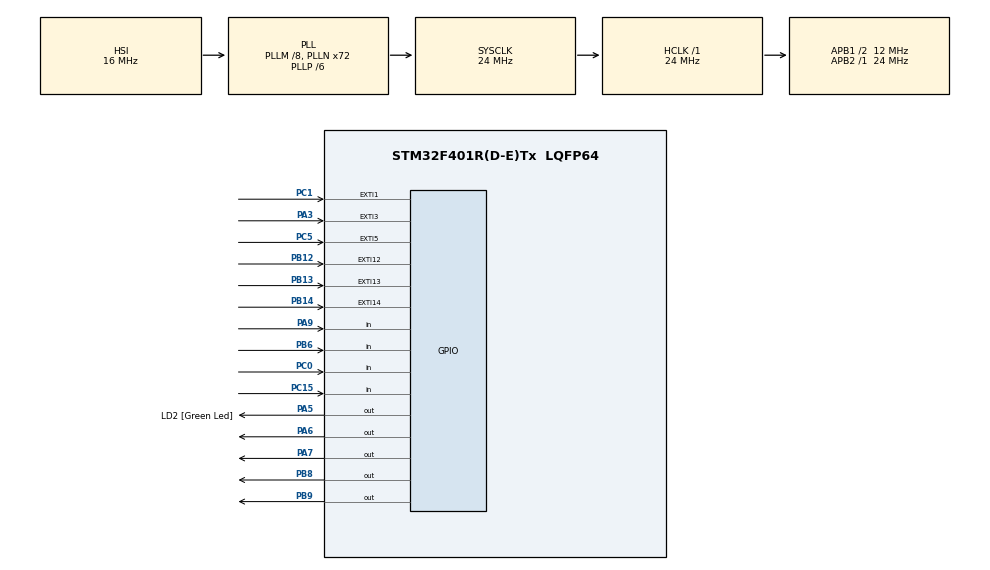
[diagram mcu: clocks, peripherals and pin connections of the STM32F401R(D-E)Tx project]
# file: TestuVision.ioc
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Mcu.Family=STM32F4
Mcu.Name=STM32F401R(D-E)Tx
Mcu.Package=LQFP64
NVIC.PriorityGroup=NVIC_PRIORITYGROUP_0
NVIC.TIM3_IRQn=true\:0\:0\:false\:false\:true\:true
PA13.GPIO_Label=TMS
PA13.Signal=SYS_JTMS-SWDIO
PA14.GPIO_Label=TCK
PA14.Signal=SYS_JTCK-SWCLK
PA3.Signal=GPXTI3
PA5.GPIO_Label=LD2 [Green Led]
PA5.GPIO_Mode=GPIO_MODE_OUTPUT_PP
PA5.GPIO_PuPd=GPIO_NOPULL
PA5.GPIO_Speed=GPIO_SPEED_FREQ_LOW
PA5.Signal=GPIO_Output
PA6.Signal=GPIO_Output
PA7.Signal=GPIO_Output
PA9.Signal=GPIO_Input
PB12.Signal=GPXTI12
PB13.Signal=GPXTI13
PB14.Signal=GPXTI14
PB3.GPIO_Label=SWO
PB3.Signal=SYS_JTDO-SWO
PB6.Signal=GPIO_Input
PB8.Signal=GPIO_Output
PB9.Signal=GPIO_Output
PC0.Signal=GPIO_Input
PC1.Signal=GPXTI1
PC14-OSC32_IN.Signal=RCC_OSC32_IN
PC15-OSC32_OUT.Signal=GPIO_Input
PC5.Signal=GPXTI5
PH0\ -\ OSC_IN.Signal=RCC_OSC_IN
PH1\ -\ OSC_OUT.Signal=RCC_OSC_OUT
ProjectManager.HeapSize=0x200
ProjectManager.StackSize=0x400
ProjectManager.TargetToolchain=MDK-ARM V5
RCC.48MHZClocksFreq_Value=20571428.57142857
RCC.AHBFreq_Value=24000000
RCC.APB1CLKDivider=RCC_HCLK_DIV2
RCC.APB1Freq_Value=12000000
RCC.APB1TimFreq_Value=24000000
RCC.APB2Freq_Value=24000000
RCC.APB2TimFreq_Value=24000000
RCC.CortexFreq_Value=24000000
RCC.HCLKFreq_Value=24000000
RCC.HSE_VALUE=8000000
RCC.HSI_VALUE=16000000
RCC.LSE_VALUE=32768
RCC.PLLM=8
RCC.PLLN=72
RCC.PLLP=RCC_PLLP_DIV6
RCC.PLLQ=7
RCC.SYSCLKFreq_VALUE=24000000
RCC.SYSCLKSource=RCC_SYSCLKSOURCE_PLLCLK
RCC.VCOOutputFreq_Value=144000000
TIM3.Period=50
TIM3.Prescaler=23
VP_TIM3_VS_ClockSourceINT.Mode=Internal
board=NUCLEO-F401RE

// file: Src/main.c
/**
  ******************************************************************************
  * File Name          : main.c
  * Description        : Main program body
  ******************************************************************************
  ** This notice applies to any and all portions of this file
  * that are not between comment pairs USER CODE BEGIN and
  * USER CODE END. Other portions of this file, whether
  * inserted by the user or by software development tools
  * are owned by their respective copyright owners.
  *
  * COPYRIGHT(c) 2017 STMicroelectronics
  *
  * Redistribution and use in source and binary forms, with or without modification,
  * are permitted provided that the following conditions are met:
  *   1. Redistributions of source code must retain the above copyright notice,
  *      this list of conditions and the following disclaimer.
  *   2. Redistributions in binary form must reproduce the above copyright notice,
  *      this list of conditions and the following disclaimer in the documentation
  *      and/or other materials provided with the distribution.
  *   3. Neither the name of STMicroelectronics nor the names of its contributors
  *      may be used to endorse or promote products derived from this software
  *      without specific prior written permission.
  *
  * THIS SOFTWARE IS PROVIDED BY THE COPYRIGHT HOLDERS AND CONTRIBUTORS "AS IS"
  * AND ANY EXPRESS OR IMPLIED WARRANTIES, INCLUDING, BUT NOT LIMITED TO, THE
  * IMPLIED WARRANTIES OF MERCHANTABILITY AND FITNESS FOR A PARTICULAR PURPOSE ARE
  * DISCLAIMED. IN NO EVENT SHALL THE COPYRIGHT HOLDER OR CONTRIBUTORS BE LIABLE
  * FOR ANY DIRECT, INDIRECT, INCIDENTAL, SPECIAL, EXEMPLARY, OR CONSEQUENTIAL
  * DAMAGES (INCLUDING, BUT NOT LIMITED TO, PROCUREMENT OF SUBSTITUTE GOODS OR
  * SERVICES; LOSS OF USE, DATA, OR PROFITS; OR BUSINESS INTERRUPTION) HOWEVER
  * CAUSED AND ON ANY THEORY OF LIABILITY, WHETHER IN CONTRACT, STRICT LIABILITY,
  * OR TORT (INCLUDING NEGLIGENCE OR OTHERWISE) ARISING IN ANY WAY OUT OF THE USE
  * OF THIS SOFTWARE, EVEN IF ADVISED OF THE POSSIBILITY OF SUCH DAMAGE.
  *
  ******************************************************************************
  */

#include "main.h"
#include "stm32f4xx_hal.h"

/* USER CODE BEGIN Includes */
#include "stdbool.h"

/* USER CODE END Includes */

TIM_HandleTypeDef htim3;

/* USER CODE BEGIN PV */
/* Private variables ---------------------------------------------------------*/
unsigned int cnt = 0;
unsigned int cnt_ccw = 0;
unsigned int cnt_cw = 0;
char contrseq1[4] = {0x01,0x02,0x04,0x09};
char contrseq2[4] = {0x00,0x00,0x01,0x03};
volatile bool a1;
volatile bool b1;

volatile bool a[19];
volatile bool b[19];
volatile unsigned int timecount;
enum state{S0,S1,S2,S3};
enum state my_state = S0;

//Variables for transmition

/* USER CODE END PV */

void SystemClock_Config(void);
static void MX_GPIO_Init(void);
static void MX_TIM3_Init(void);

/* USER CODE BEGIN PFP */
/* Private function prototypes -----------------------------------------------*/
int encode(char index);
/* USER CODE END PFP */

/* USER CODE BEGIN 0 */
int encode(char index){//Funktion für die Encoderauswertung
	int val;
	switch(my_state){
			case S0:
				timecount = TIMECOUNT;
				if(a[index] == 0 && b[index] == 1)my_state = S1;
				if(a[index] == 1 && b[index] == 0)my_state = S3;
			break;

			case S1:
				if(a[index] == 0 && b[index] == 0)my_state = S2;
				if(a[index] == 1 && b[index] == 1){
					my_state = S0;
					if(timecount >= Time2)val = Speed3+val;
					if(timecount >= Time1 && timecount <Time2)val = Speed2+val;
					if(timecount <Time1)val++;
				}
			break;

			case S2:
				if(a[index] == 1 && b[index] == 0)my_state = S3;
				if(a[index] == 0 && b[index] == 1)my_state = S1;
			break;

			case S3:
				if(a[index] == 1 && b[index] == 1){
					my_state = S0;
					if(timecount >= Time2)val = Speed3-val;
					if(timecount >= Time1 && timecount <Time2)val = Speed2-val;
					if(timecount <Time1)val--;
				}
				if(a[index] == 0 && b[index] == 0)my_state = S2;
			break;
		}
		return val;
}
/* USER CODE END 0 */

int main(void)
{

  /* MCU Configuration----------------------------------------------------------*/

  /* Reset of all peripherals, Initializes the Flash interface and the Systick. */
  HAL_Init();

  /* Configure the system clock */
  SystemClock_Config();

  /* Initialize all configured peripherals */
  MX_GPIO_Init();
  MX_TIM3_Init();

  /* USER CODE BEGIN 2 */
	HAL_TIM_Base_Start_IT(&htim3);
  /* USER CODE END 2 */

  /* Infinite loop */
  /* USER CODE BEGIN WHILE */
  while (1)
  {

		cnt_cw = encode(Inc_magenta);

		if(cnt_cw & 0x01)HAL_GPIO_WritePin(GPIOA, GPIO_PIN_7, GPIO_PIN_SET);else{HAL_GPIO_WritePin(GPIOA, GPIO_PIN_7, GPIO_PIN_RESET);}
		if(cnt_cw & 0x02)HAL_GPIO_WritePin(GPIOA, GPIO_PIN_6, GPIO_PIN_SET);else{HAL_GPIO_WritePin(GPIOA, GPIO_PIN_6, GPIO_PIN_RESET);}
		if(cnt_cw & 0x04)HAL_GPIO_WritePin(GPIOB, GPIO_PIN_9, GPIO_PIN_SET);else{HAL_GPIO_WritePin(GPIOB, GPIO_PIN_9, GPIO_PIN_RESET);}
		if(cnt_cw & 0x08)HAL_GPIO_WritePin(GPIOB, GPIO_PIN_8, GPIO_PIN_SET);else{HAL_GPIO_WritePin(GPIOB, GPIO_PIN_8, GPIO_PIN_RESET);}

  /* USER CODE END WHILE */

  }

}

/** System Clock Configuration
*/
void SystemClock_Config(void)
{

  RCC_OscInitTypeDef RCC_OscInitStruct;
  RCC_ClkInitTypeDef RCC_ClkInitStruct;

    /**Configure the main internal regulator output voltage
    */
  __HAL_RCC_PWR_CLK_ENABLE();

  __HAL_PWR_VOLTAGESCALING_CONFIG(PWR_REGULATOR_VOLTAGE_SCALE2);

    /**Initializes the CPU, AHB and APB busses clocks
    */
  RCC_OscInitStruct.OscillatorType = RCC_OSCILLATORTYPE_HSI;
  RCC_OscInitStruct.HSIState = RCC_HSI_ON;
  RCC_OscInitStruct.HSICalibrationValue = 16;
  RCC_OscInitStruct.PLL.PLLState = RCC_PLL_ON;
  RCC_OscInitStruct.PLL.PLLSource = RCC_PLLSOURCE_HSI;
  RCC_OscInitStruct.PLL.PLLM = 8;
  RCC_OscInitStruct.PLL.PLLN = 72;
  RCC_OscInitStruct.PLL.PLLP = RCC_PLLP_DIV6;
  RCC_OscInitStruct.PLL.PLLQ = 7;
  if (HAL_RCC_OscConfig(&RCC_OscInitStruct) != HAL_OK)
  {
    _Error_Handler(__FILE__, __LINE__);
  }

    /**Initializes the CPU, AHB and APB busses clocks
    */
  RCC_ClkInitStruct.ClockType = RCC_CLOCKTYPE_HCLK|RCC_CLOCKTYPE_SYSCLK
                              |RCC_CLOCKTYPE_PCLK1|RCC_CLOCKTYPE_PCLK2;
  RCC_ClkInitStruct.SYSCLKSource = RCC_SYSCLKSOURCE_PLLCLK;
  RCC_ClkInitStruct.AHBCLKDivider = RCC_SYSCLK_DIV1;
  RCC_ClkInitStruct.APB1CLKDivider = RCC_HCLK_DIV2;
  RCC_ClkInitStruct.APB2CLKDivider = RCC_HCLK_DIV1;

  if (HAL_RCC_ClockConfig(&RCC_ClkInitStruct, FLASH_LATENCY_0) != HAL_OK)
  {
    _Error_Handler(__FILE__, __LINE__);
  }

    /**Configure the Systick interrupt time
    */
  HAL_SYSTICK_Config(HAL_RCC_GetHCLKFreq()/1000);

    /**Configure the Systick
    */
  HAL_SYSTICK_CLKSourceConfig(SYSTICK_CLKSOURCE_HCLK);

  /* SysTick_IRQn interrupt configuration */
  HAL_NVIC_SetPriority(SysTick_IRQn, 0, 0);
}

/* TIM3 init function */
static void MX_TIM3_Init(void)
{

  TIM_ClockConfigTypeDef sClockSourceConfig;
  TIM_MasterConfigTypeDef sMasterConfig;

  htim3.Instance = TIM3;
  htim3.Init.Prescaler = 23;
  htim3.Init.CounterMode = TIM_COUNTERMODE_UP;
  htim3.Init.Period = 50;
  htim3.Init.ClockDivision = TIM_CLOCKDIVISION_DIV1;
  if (HAL_TIM_Base_Init(&htim3) != HAL_OK)
  {
    _Error_Handler(__FILE__, __LINE__);
  }

  sClockSourceConfig.ClockSource = TIM_CLOCKSOURCE_INTERNAL;
  if (HAL_TIM_ConfigClockSource(&htim3, &sClockSourceConfig) != HAL_OK)
  {
    _Error_Handler(__FILE__, __LINE__);
  }

  sMasterConfig.MasterOutputTrigger = TIM_TRGO_RESET;
  sMasterConfig.MasterSlaveMode = TIM_MASTERSLAVEMODE_DISABLE;
  if (HAL_TIMEx_MasterConfigSynchronization(&htim3, &sMasterConfig) != HAL_OK)
  {
    _Error_Handler(__FILE__, __LINE__);
  }

}

/** Configure pins as
        * Analog
        * Input
        * Output
        * EVENT_OUT
        * EXTI
*/
static void MX_GPIO_Init(void)
{

  GPIO_InitTypeDef GPIO_InitStruct;

  /* GPIO Ports Clock Enable */
  __HAL_RCC_GPIOC_CLK_ENABLE();
  __HAL_RCC_GPIOH_CLK_ENABLE();
  __HAL_RCC_GPIOA_CLK_ENABLE();
  __HAL_RCC_GPIOB_CLK_ENABLE();

  /*Configure GPIO pin Output Level */
  HAL_GPIO_WritePin(GPIOA, LD2_Pin|GPIO_PIN_6|GPIO_PIN_7, GPIO_PIN_RESET);

  /*Configure GPIO pin Output Level */
  HAL_GPIO_WritePin(GPIOB, GPIO_PIN_8|GPIO_PIN_9, GPIO_PIN_RESET);

  /*Configure GPIO pins : PC15 PC0 */
  GPIO_InitStruct.Pin = GPIO_PIN_15|GPIO_PIN_0;
  GPIO_InitStruct.Mode = GPIO_MODE_INPUT;
  GPIO_InitStruct.Pull = GPIO_NOPULL;
  HAL_GPIO_Init(GPIOC, &GPIO_InitStruct);

  /*Configure GPIO pins : PC1 PC5 */
  GPIO_InitStruct.Pin = GPIO_PIN_1|GPIO_PIN_5;
  GPIO_InitStruct.Mode = GPIO_MODE_IT_RISING;
  GPIO_InitStruct.Pull = GPIO_NOPULL;
  HAL_GPIO_Init(GPIOC, &GPIO_InitStruct);

  /*Configure GPIO pin : PA3 */
  GPIO_InitStruct.Pin = GPIO_PIN_3;
  GPIO_InitStruct.Mode = GPIO_MODE_IT_RISING;
  GPIO_InitStruct.Pull = GPIO_NOPULL;
  HAL_GPIO_Init(GPIOA, &GPIO_InitStruct);

  /*Configure GPIO pins : LD2_Pin PA6 PA7 */
  GPIO_InitStruct.Pin = LD2_Pin|GPIO_PIN_6|GPIO_PIN_7;
  GPIO_InitStruct.Mode = GPIO_MODE_OUTPUT_PP;
  GPIO_InitStruct.Pull = GPIO_NOPULL;
  GPIO_InitStruct.Speed = GPIO_SPEED_FREQ_LOW;
  HAL_GPIO_Init(GPIOA, &GPIO_InitStruct);

  /*Configure GPIO pins : PB12 PB13 PB14 */
  GPIO_InitStruct.Pin = GPIO_PIN_12|GPIO_PIN_13|GPIO_PIN_14;
  GPIO_InitStruct.Mode = GPIO_MODE_IT_RISING;
  GPIO_InitStruct.Pull = GPIO_NOPULL;
  HAL_GPIO_Init(GPIOB, &GPIO_InitStruct);

  /*Configure GPIO pin : PA9 */
  GPIO_InitStruct.Pin = GPIO_PIN_9;
  GPIO_InitStruct.Mode = GPIO_MODE_INPUT;
  GPIO_InitStruct.Pull = GPIO_NOPULL;
  HAL_GPIO_Init(GPIOA, &GPIO_InitStruct);

  /*Configure GPIO pin : PB6 */
  GPIO_InitStruct.Pin = GPIO_PIN_6;
  GPIO_InitStruct.Mode = GPIO_MODE_INPUT;
  GPIO_InitStruct.Pull = GPIO_NOPULL;
  HAL_GPIO_Init(GPIOB, &GPIO_InitStruct);

  /*Configure GPIO pins : PB8 PB9 */
  GPIO_InitStruct.Pin = GPIO_PIN_8|GPIO_PIN_9;
  GPIO_InitStruct.Mode = GPIO_MODE_OUTPUT_PP;
  GPIO_InitStruct.Pull = GPIO_NOPULL;
  GPIO_InitStruct.Speed = GPIO_SPEED_FREQ_LOW;
  HAL_GPIO_Init(GPIOB, &GPIO_InitStruct);

}

void _Error_Handler(char * file, int line)
{
  while(1)
  {
  }
}

/************************ (C) COPYRIGHT STMicroelectronics *****END OF FILE****/
